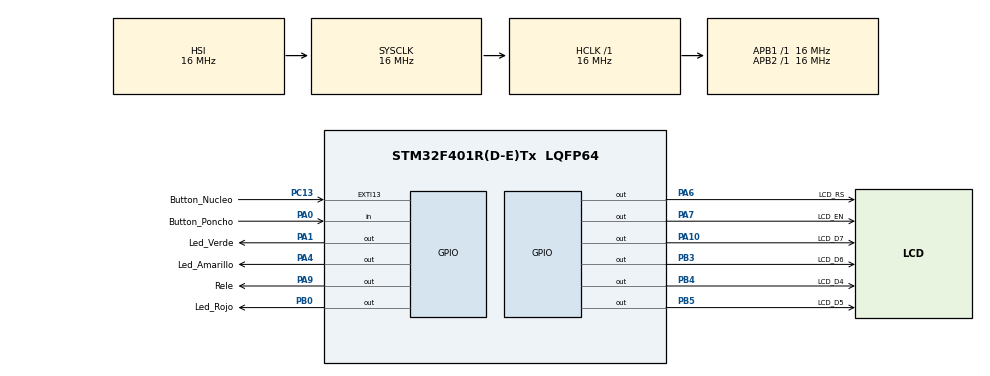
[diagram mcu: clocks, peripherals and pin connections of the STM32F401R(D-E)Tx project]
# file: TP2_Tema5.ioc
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Mcu.Family=STM32F4
Mcu.Name=STM32F401R(D-E)Tx
Mcu.Package=LQFP64
NVIC.EXTI15_10_IRQn=true\:5\:0\:true\:false\:true\:true\:true
NVIC.PriorityGroup=NVIC_PRIORITYGROUP_4
NVIC.TIM1_UP_TIM10_IRQn=true\:0\:0\:false\:false\:true\:false\:true
NVIC.TimeBase=TIM1_UP_TIM10_IRQn
NVIC.TimeBaseIP=TIM1
PA0-WKUP.GPIO_Label=Button_Poncho
PA0-WKUP.GPIO_PuPd=GPIO_PULLUP
PA0-WKUP.Signal=GPIO_Input
PA1.GPIO_Label=Led_Verde
PA1.Signal=GPIO_Output
PA10.GPIO_Label=LCD_D7
PA10.Signal=GPIO_Output
PA13.Mode=Serial_Wire
PA13.Signal=SYS_JTMS-SWDIO
PA14.Mode=Serial_Wire
PA14.Signal=SYS_JTCK-SWCLK
PA4.GPIO_Label=Led_Amarillo
PA4.Signal=GPIO_Output
PA6.GPIO_Label=LCD_RS
PA6.Signal=GPIO_Output
PA7.GPIO_Label=LCD_EN
PA7.Signal=GPIO_Output
PA9.GPIO_Label=Rele
PA9.Signal=GPIO_Output
PB0.GPIO_Label=Led_Rojo
PB0.Signal=GPIO_Output
PB3.GPIO_Label=LCD_D6
PB3.Signal=GPIO_Output
PB4.GPIO_Label=LCD_D4
PB4.Signal=GPIO_Output
PB5.GPIO_Label=LCD_D5
PB5.Signal=GPIO_Output
PC13-ANTI_TAMP.GPIO_Label=Button_Nucleo
PC13-ANTI_TAMP.GPIO_ModeDefaultEXTI=GPIO_MODE_IT_RISING_FALLING
PC13-ANTI_TAMP.GPIO_PuPd=GPIO_PULLUP
PC13-ANTI_TAMP.Signal=GPXTI13
ProjectManager.HeapSize=0x200
ProjectManager.StackSize=0x400
ProjectManager.TargetToolchain=STM32CubeIDE
RCC.AHBFreq_Value=16000000
RCC.APB1Freq_Value=16000000
RCC.APB2Freq_Value=16000000
RCC.CortexFreq_Value=16000000
RCC.HSE_VALUE=25000000
RCC.HSI_VALUE=16000000
RCC.LSE_VALUE=32768
RCC.SYSCLKFreq_VALUE=16000000
RCC.VCOOutputFreq_Value=192000000
VP_SYS_VS_tim1.Mode=TIM1
board=custom

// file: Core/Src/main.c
/* USER CODE BEGIN Header */
/**
  ******************************************************************************
  * @file           : main.c
  * @brief          : Main program body
  ******************************************************************************
  * @attention
  *
  * <h2><center>&copy; Copyright (c) 2021 STMicroelectronics.
  * All rights reserved.</center></h2>
  *
  * This software component is licensed by ST under BSD 3-Clause license,
  * the "License"; You may not use this file except in compliance with the
  * License. You may obtain a copy of the License at:
  *                        opensource.org/licenses/BSD-3-Clause
  *
  ******************************************************************************
  */
/* USER CODE END Header */
#include "main.h"

/* USER CODE BEGIN Includes */
#include "FreeRTOS.h"
#include "task.h"
#include "task_app.h"
#include "semphr.h"
#include "HD44780.h"
/* USER CODE END Includes */

void SystemClock_Config(void);
static void MX_GPIO_Init(void);
/* USER CODE BEGIN PFP */

TaskHandle_t TaskBlinkyhandler;
TaskHandle_t TaskCounthandler;

xQueueHandle xQueue_startstop;
xQueueHandle xQueue_contador;
xQueueHandle xQueue_lcd1;
xQueueHandle xQueue_lcd2;
xQueueHandle xQueue_frenado;

xSemaphoreHandle xSemNucleo, xSemPoncho;

HD44780 lcd = {
	   .rs_gpio = GPIOA,
	  // .rw_gpio = LCD_RW_GPIO_Port,
	   .en_gpio = GPIOA,
	   .d4_gpio = GPIOB,
	   .d5_gpio = GPIOB,
	   .d6_gpio = GPIOB,
	   .d7_gpio = GPIOA,
	   .rs_pin = LCD_RS_Pin,
	   //.rw_pin = LCD_RW_Pin,
	   .en_pin = LCD_EN_Pin,
	   .d4_pin = LCD_D4_Pin,
	   .d5_pin = LCD_D5_Pin,
	   .d6_pin = LCD_D6_Pin,
	   .d7_pin = LCD_D7_Pin,
};

/* USER CODE END PFP */

/* USER CODE BEGIN 0 */
extern void initialise_monitor_handles(void);
/* USER CODE END 0 */

int main(void)
{

  /* MCU Configuration--------------------------------------------------------*/

  /* Reset of all peripherals, Initializes the Flash interface and the Systick. */
  HAL_Init();

  /* Configure the system clock */
  SystemClock_Config();

  /* Initialize all configured peripherals */
  MX_GPIO_Init();
  /* USER CODE BEGIN 2 */
   initialise_monitor_handles();

   HD44780_init(&lcd);
   HD44780_put_str(&lcd, "Contados=  xxx");
   HD44780_cursor_to(&lcd, 0, 1);
   HD44780_put_str(&lcd, "Contados= 0");
   HAL_GPIO_WritePin(GPIOB, Led_Rojo_Pin, 1);
   HAL_GPIO_WritePin(GPIOA, Rele_Pin, 0);

    xQueue_lcd1 = xQueueCreate( 1, sizeof( int ) );
    xQueue_startstop = xQueueCreate( 1, sizeof( int ) );
    xQueue_contador = xQueueCreate( 5, sizeof( uint8_t ) );
    xQueue_lcd2 = xQueueCreate( 1, sizeof( int ) );
    xQueue_frenado = xQueueCreate( 1, sizeof( int ) );

    xSemNucleo=xSemaphoreCreateBinary();
    xSemPoncho=xSemaphoreCreateBinary();

	xTaskCreate(		xLcdTask,		/* Pointer to the function that implements the task. */
						"GateKeeperTask",	/* Text name for the task.  This is to facilitate debugging only. */
						configMINIMAL_STACK_SIZE,		/* Stack depth in words. */
						NULL,		/* We are  not using the task parameter. */
						1,			/* This task will run at priority 1. */
						NULL );		/* We are not using the task handle. */

	xTaskCreate(		vTaskControl,		/* Pointer to the function that implements the task. */
						"Productor",	/* Text name for the task.  This is to facilitate debugging only. */
						configMINIMAL_STACK_SIZE,		/* Stack depth in words. */
						NULL,		/* We are  using the task parameter. */
						1,			/* This task will run at priority 1. */
						NULL );		/* We are not using the task handle. */

	xTaskCreate(		vSenderTask,		/* Pointer to the function that implements the task. */
						"Productor",	/* Text name for the task.  This is to facilitate debugging only. */
						configMINIMAL_STACK_SIZE,		/* Stack depth in words. */
						NULL,		/* We are  using the task parameter. */
						1,			/* This task will run at priority 1. */
						NULL );		/* We are not using the task handle. */

  	xTaskCreate(		vTaskBlinky,		/* Pointer to the function that implements the task. */
  						"Task 1",	/* Text name for the task.  This is to facilitate debugging only. */
						configMINIMAL_STACK_SIZE,		/* Stack depth in words. */
						NULL,		/* We are  using the task parameter. */
  						4,			/* This task will run at priority 1. */
						&TaskBlinkyhandler );		/* We are using the task handle. */

  	xTaskCreate(		vTaskCount,		/* Pointer to the function that implements the task. */
  						"Task 1",	/* Text name for the task.  This is to facilitate debugging only. */
						configMINIMAL_STACK_SIZE,		/* Stack depth in words. */
						NULL,		/* We are  using the task parameter. */
  						1,			/* This task will run at priority 1. */
						&TaskCounthandler );		/* We are using the task handle. */

	/* Start the scheduler so our tasks start executing. */
	vTaskStartScheduler();

  /* USER CODE END 2 */

  /* Infinite loop */
  while (1)
  {

  }
}

void SystemClock_Config(void)
{
  RCC_OscInitTypeDef RCC_OscInitStruct = {0};
  RCC_ClkInitTypeDef RCC_ClkInitStruct = {0};

  /** Configure the main internal regulator output voltage
  */
  __HAL_RCC_PWR_CLK_ENABLE();
  __HAL_PWR_VOLTAGESCALING_CONFIG(PWR_REGULATOR_VOLTAGE_SCALE2);
  /** Initializes the RCC Oscillators according to the specified parameters
  * in the RCC_OscInitTypeDef structure.
  */
  RCC_OscInitStruct.OscillatorType = RCC_OSCILLATORTYPE_HSI;
  RCC_OscInitStruct.HSIState = RCC_HSI_ON;
  RCC_OscInitStruct.HSICalibrationValue = RCC_HSICALIBRATION_DEFAULT;
  RCC_OscInitStruct.PLL.PLLState = RCC_PLL_NONE;
  if (HAL_RCC_OscConfig(&RCC_OscInitStruct) != HAL_OK)
  {
    Error_Handler();
  }
  /** Initializes the CPU, AHB and APB buses clocks
  */
  RCC_ClkInitStruct.ClockType = RCC_CLOCKTYPE_HCLK|RCC_CLOCKTYPE_SYSCLK
                              |RCC_CLOCKTYPE_PCLK1|RCC_CLOCKTYPE_PCLK2;
  RCC_ClkInitStruct.SYSCLKSource = RCC_SYSCLKSOURCE_HSI;
  RCC_ClkInitStruct.AHBCLKDivider = RCC_SYSCLK_DIV1;
  RCC_ClkInitStruct.APB1CLKDivider = RCC_HCLK_DIV1;
  RCC_ClkInitStruct.APB2CLKDivider = RCC_HCLK_DIV1;

  if (HAL_RCC_ClockConfig(&RCC_ClkInitStruct, FLASH_LATENCY_0) != HAL_OK)
  {
    Error_Handler();
  }
}

static void MX_GPIO_Init(void)
{
  GPIO_InitTypeDef GPIO_InitStruct = {0};

  /* GPIO Ports Clock Enable */
  __HAL_RCC_GPIOC_CLK_ENABLE();
  __HAL_RCC_GPIOA_CLK_ENABLE();
  __HAL_RCC_GPIOB_CLK_ENABLE();

  /*Configure GPIO pin Output Level */
  HAL_GPIO_WritePin(GPIOA, Led_Verde_Pin|Led_Amarillo_Pin|LCD_RS_Pin|LCD_EN_Pin
                          |Rele_Pin|LCD_D7_Pin, GPIO_PIN_RESET);

  /*Configure GPIO pin Output Level */
  HAL_GPIO_WritePin(GPIOB, Led_Rojo_Pin|LCD_D6_Pin|LCD_D4_Pin|LCD_D5_Pin, GPIO_PIN_RESET);

  /*Configure GPIO pin : Button_Nucleo_Pin */
  GPIO_InitStruct.Pin = Button_Nucleo_Pin;
  GPIO_InitStruct.Mode = GPIO_MODE_IT_RISING_FALLING;
  GPIO_InitStruct.Pull = GPIO_PULLUP;
  HAL_GPIO_Init(Button_Nucleo_GPIO_Port, &GPIO_InitStruct);

  /*Configure GPIO pin : Button_Poncho_Pin */
  GPIO_InitStruct.Pin = Button_Poncho_Pin;
  GPIO_InitStruct.Mode = GPIO_MODE_INPUT;
  GPIO_InitStruct.Pull = GPIO_PULLUP;
  HAL_GPIO_Init(Button_Poncho_GPIO_Port, &GPIO_InitStruct);

  /*Configure GPIO pins : Led_Verde_Pin Led_Amarillo_Pin LCD_RS_Pin LCD_EN_Pin
                           Rele_Pin LCD_D7_Pin */
  GPIO_InitStruct.Pin = Led_Verde_Pin|Led_Amarillo_Pin|LCD_RS_Pin|LCD_EN_Pin
                          |Rele_Pin|LCD_D7_Pin;
  GPIO_InitStruct.Mode = GPIO_MODE_OUTPUT_PP;
  GPIO_InitStruct.Pull = GPIO_NOPULL;
  GPIO_InitStruct.Speed = GPIO_SPEED_FREQ_LOW;
  HAL_GPIO_Init(GPIOA, &GPIO_InitStruct);

  /*Configure GPIO pins : Led_Rojo_Pin LCD_D6_Pin LCD_D4_Pin LCD_D5_Pin */
  GPIO_InitStruct.Pin = Led_Rojo_Pin|LCD_D6_Pin|LCD_D4_Pin|LCD_D5_Pin;
  GPIO_InitStruct.Mode = GPIO_MODE_OUTPUT_PP;
  GPIO_InitStruct.Pull = GPIO_NOPULL;
  GPIO_InitStruct.Speed = GPIO_SPEED_FREQ_LOW;
  HAL_GPIO_Init(GPIOB, &GPIO_InitStruct);

  /* EXTI interrupt init*/
  HAL_NVIC_SetPriority(EXTI15_10_IRQn, 5, 0);
  HAL_NVIC_EnableIRQ(EXTI15_10_IRQn);

}

 /**
  * @brief  Period elapsed callback in non blocking mode
  * @note   This function is called  when TIM1 interrupt took place, inside
  * HAL_TIM_IRQHandler(). It makes a direct call to HAL_IncTick() to increment
  * a global variable "uwTick" used as application time base.
  * @param  htim : TIM handle
  * @retval None
  */
void HAL_TIM_PeriodElapsedCallback(TIM_HandleTypeDef *htim)
{
  if (htim->Instance == TIM1) {
    HAL_IncTick();
  }
}

void Error_Handler(void)
{
  __disable_irq();
  while (1)
  {
  }
}

/************************ (C) COPYRIGHT STMicroelectronics *****END OF FILE****/
